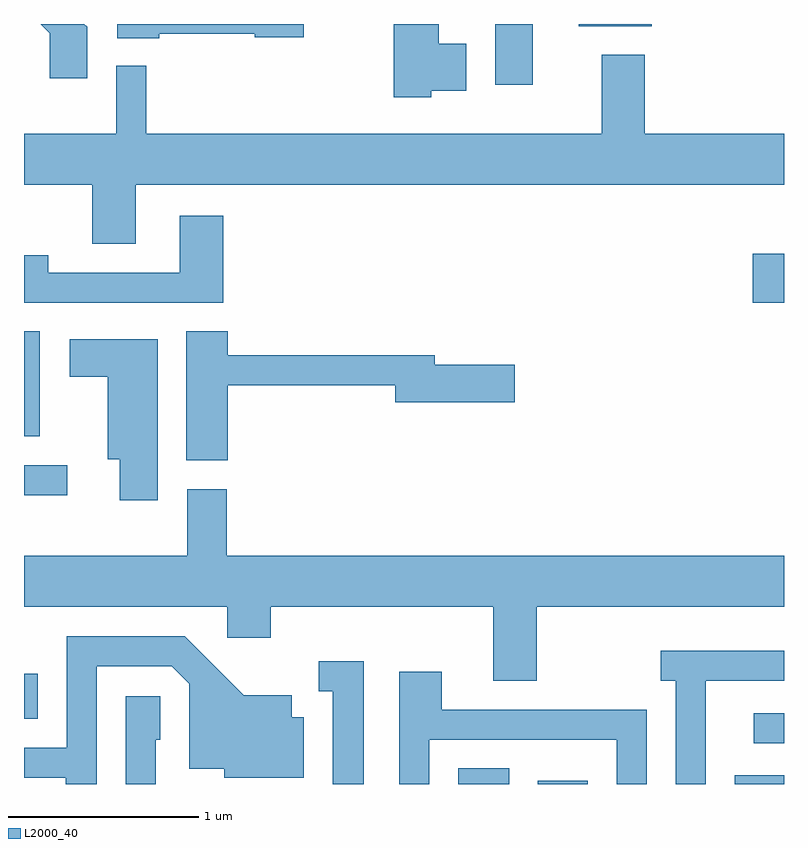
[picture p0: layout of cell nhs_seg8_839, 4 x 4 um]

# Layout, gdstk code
import gdstk
lib = gdstk.Library(unit=1e-6, precision=1e-09)
def R(c, l, rs):  # rectangles x0, y0, x1, y1
    for r in rs: c.add(gdstk.rectangle(r[:2], r[2:], *l))
def P(c, l, *ps):  # polygons
    for p in ps: c.add(gdstk.Polygon(p, *l))
L2000_40 = (2000, 40)

nhs_seg8_839 = lib.new_cell('nhs_seg8_839')
R(nhs_seg8_839, L2000_40, [(211.896,1864.342,212.164,1864.424), (212.316,1864.342,212.579,1864.359), (213.351,1864.342,213.611,1864.389), (213.453,1864.556,213.611,1864.714), (209.611,1864.686,209.684,1864.923), (209.611,1865.861,209.838,1866.019), (209.611,1866.171,209.694,1866.724), (213.446,1866.876,213.611,1867.134), (212.091,1868.021,212.289,1868.342), (212.531,1868.331,212.914,1868.342)])
P(nhs_seg8_839, L2000_40, [(210.324,1868.291),(210.826,1868.291),(210.826,1868.271),(211.084,1868.271),(211.084,1868.342),(210.101,1868.342),(210.101,1868.266),(210.324,1868.266)],
  [(211.754,1867.991),(211.939,1867.991),(211.939,1868.239),(211.794,1868.239),(211.794,1868.342),(211.556,1868.342),(211.556,1867.956),(211.754,1867.956)],
  [(209.944,1868.327),(209.929,1868.342),(209.698,1868.342),(209.746,1868.294),(209.746,1868.056),(209.944,1868.056)],
  [(210.199,1867.496),(213.611,1867.496),(213.611,1867.764),(212.879,1867.764),(212.879,1868.179),(212.651,1868.179),(212.651,1867.764),(210.254,1867.764),(210.254,1868.123),(210.096,1868.123),(210.096,1867.764),(209.611,1867.764),(209.611,1867.496),(209.971,1867.496),(209.971,1867.186),(210.199,1867.186)],
  [(210.659,1867.334),(210.431,1867.334),(210.431,1867.034),(209.739,1867.034),(209.739,1867.124),(209.611,1867.124),(209.611,1866.876),(210.659,1866.876)],
  [(210.684,1866.441),(211.566,1866.441),(211.566,1866.351),(212.194,1866.351),(212.194,1866.549),(211.774,1866.549),(211.774,1866.599),(210.684,1866.599),(210.684,1866.724),(210.466,1866.724),(210.466,1866.046),(210.684,1866.046)],
  [(210.314,1866.684),(209.851,1866.684),(209.851,1866.486),(210.051,1866.486),(210.051,1866.051),(210.116,1866.051),(210.116,1865.836),(210.314,1865.836)],
  [(212.309,1865.276),(213.611,1865.276),(213.611,1865.544),(210.679,1865.544),(210.679,1865.894),(210.471,1865.894),(210.471,1865.544),(209.611,1865.544),(209.611,1865.276),(210.681,1865.276),(210.681,1865.111),(210.909,1865.111),(210.909,1865.276),(212.081,1865.276),(212.081,1864.886),(212.309,1864.886)],
  [(209.994,1864.961),(210.389,1864.961),(210.481,1864.869),(210.481,1864.421),(210.666,1864.421),(210.666,1864.376),(211.084,1864.376),(211.084,1864.694),(211.019,1864.694),(211.019,1864.809),(210.767,1864.809),(210.457,1865.119),(209.836,1865.119),(209.836,1864.534),(209.611,1864.534),(209.611,1864.376),(209.831,1864.376),(209.831,1864.342),(209.994,1864.342)],
  [(213.199,1864.886),(213.611,1864.886),(213.611,1865.044),(212.963,1865.044),(212.963,1864.886),(213.041,1864.886),(213.041,1864.342),(213.199,1864.342)],
  [(211.399,1864.989),(211.163,1864.989),(211.163,1864.831),(211.236,1864.831),(211.236,1864.342),(211.399,1864.342)],
  [(211.744,1864.576),(212.731,1864.576),(212.731,1864.342),(212.889,1864.342),(212.889,1864.734),(211.809,1864.734),(211.809,1864.934),(211.586,1864.934),(211.586,1864.342),(211.744,1864.342)],
  [(210.304,1864.576),(210.329,1864.576),(210.329,1864.804),(210.146,1864.804),(210.146,1864.342),(210.304,1864.342)])

lib.write_gds('nhs_seg8_839.gds')
